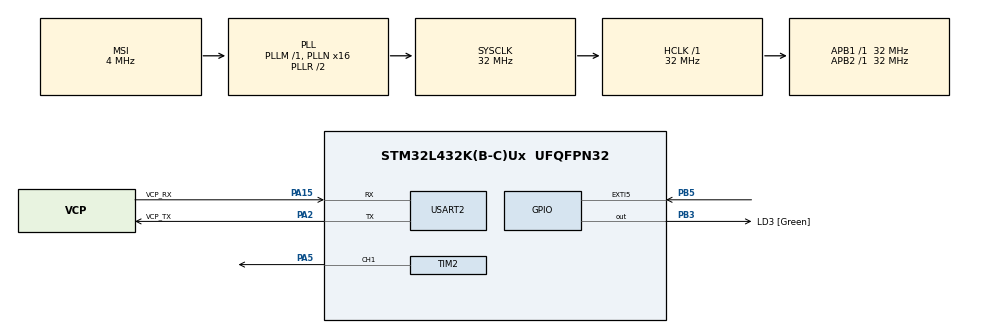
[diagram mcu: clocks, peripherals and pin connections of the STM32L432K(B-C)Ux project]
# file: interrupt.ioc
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Mcu.Family=STM32L4
Mcu.Name=STM32L432K(B-C)Ux
Mcu.Package=UFQFPN32
NVIC.EXTI9_5_IRQn=true\:0\:0\:false\:false\:true\:true\:true
NVIC.PriorityGroup=NVIC_PRIORITYGROUP_4
NVIC.TIM2_IRQn=true\:0\:0\:false\:false\:true\:true\:true
NVIC.TIM6_DAC_IRQn=true\:0\:0\:false\:false\:true\:true\:true
PA0.GPIO_Label=MCO [High speed clock in]
PA0.Mode=HSE-External-Clock-Source-for-LittleOrca
PA0.Signal=RCC_CK_IN
PA13\ (JTMS-SWDIO).GPIO_Label=SWDIO
PA13\ (JTMS-SWDIO).Mode=Serial_Wire
PA13\ (JTMS-SWDIO).Signal=SYS_JTMS-SWDIO
PA14\ (JTCK-SWCLK).GPIO_Label=SWCLK
PA14\ (JTCK-SWCLK).Mode=Serial_Wire
PA14\ (JTCK-SWCLK).Signal=SYS_JTCK-SWCLK
PA15\ (JTDI).GPIO_Label=VCP_RX
PA15\ (JTDI).Mode=Asynchronous
PA15\ (JTDI).Signal=USART2_RX
PA2.GPIO_Label=VCP_TX
PA2.Mode=Asynchronous
PA2.Signal=USART2_TX
PA5.Signal=S_TIM2_CH1
PB3\ (JTDO-TRACESWO).GPIO_Label=LD3 [Green]
PB3\ (JTDO-TRACESWO).Signal=GPIO_Output
PB5.GPIO_ModeDefaultEXTI=GPIO_MODE_IT_FALLING
PB5.Signal=GPXTI5
PC14-OSC32_IN\ (PC14).Mode=LSE-External-Oscillator
PC14-OSC32_IN\ (PC14).Signal=RCC_OSC32_IN
PC15-OSC32_OUT\ (PC15).Mode=LSE-External-Oscillator
PC15-OSC32_OUT\ (PC15).Signal=RCC_OSC32_OUT
ProjectManager.HeapSize=0x200
ProjectManager.StackSize=0x400
ProjectManager.TargetToolchain=STM32CubeIDE
RCC.AHBFreq_Value=32000000
RCC.APB1Freq_Value=32000000
RCC.APB1TimFreq_Value=32000000
RCC.APB2Freq_Value=32000000
RCC.APB2TimFreq_Value=32000000
RCC.CortexFreq_Value=32000000
RCC.HCLKFreq_Value=32000000
RCC.HSE_VALUE=8000000
RCC.HSI16_VALUE=16000000
RCC.HSI48_VALUE=48000000
RCC.HSI_VALUE=16000000
RCC.MSI_VALUE=4000000
RCC.PLLMUL=RCC_PLLMUL_4
RCC.PLLN=16
RCC.SYSCLKFreq_VALUE=32000000
RCC.SYSCLKSource=RCC_SYSCLKSOURCE_PLLCLK
RCC.VCOOutputFreq_Value=64000000
SH.S_TIM2_CH1.0=TIM2_CH1,PWM Generation1 CH1
TIM2.Channel-PWM\ Generation1\ CH1=TIM_CHANNEL_1
TIM2.Period=100-1
TIM2.Prescaler=32
TIM2.Pulse-PWM\ Generation1\ CH1=50
TIM6.Period=10
TIM6.Prescaler=32000
USART2.VirtualMode-Asynchronous=VM_ASYNC
VP_TIM2_VS_ClockSourceINT.Mode=Internal
VP_TIM6_VS_ClockSourceINT.Mode=Enable_Timer
board=NUCLEO-L432KC

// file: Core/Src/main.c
/* USER CODE BEGIN Header */
/**
  ******************************************************************************
  * @file           : main.c
  * @brief          : Main program body
  ******************************************************************************
  * @attention
  *
  * <h2><center>&copy; Copyright (c) 2020 STMicroelectronics.
  * All rights reserved.</center></h2>
  *
  * This software component is licensed by ST under BSD 3-Clause license,
  * the "License"; You may not use this file except in compliance with the
  * License. You may obtain a copy of the License at:
  *                        opensource.org/licenses/BSD-3-Clause
  *
  ******************************************************************************
  */
/* USER CODE END Header */
#include "main.h"

TIM_HandleTypeDef htim2;
TIM_HandleTypeDef htim6;

UART_HandleTypeDef huart2;

void SystemClock_Config(void);
static void MX_GPIO_Init(void);
static void MX_USART2_UART_Init(void);
static void MX_TIM2_Init(void);
static void MX_TIM6_Init(void);

/* USER CODE BEGIN 0 */

uint32_t pulse = 50;
_Bool GPIO_interrupt_lock = 0;

void HAL_TIM_PeriodElapsedCallback(TIM_HandleTypeDef *htim){
	static uint8_t postcounter = 0, lockcounter = 0;
	postcounter++;
	static _Bool toggle = 1;

	if(GPIO_interrupt_lock){
		lockcounter++;
		if(lockcounter >= 3){
			GPIO_interrupt_lock = 0;
			lockcounter = 0;
			HAL_NVIC_EnableIRQ(EXTI9_5_IRQn);
			HAL_GPIO_WritePin(LD3_GPIO_Port, LD3_Pin,GPIO_PIN_RESET);
		}
	}

	if(postcounter >= 100) {
		postcounter = 0;
		toggle ^= 1;
		if(toggle){
			//Pulse register
			TIM2->CCR1 = 0;
		}
		else
		{
			TIM2->CCR1 = pulse;
		}
	}

	HAL_GPIO_TogglePin(LD3_GPIO_Port, LD3_Pin);

}

void HAL_GPIO_EXTI_Callback(uint16_t GPIO_Pin)
{
	if(GPIO_Pin != 32) {return;}
	//I don't know why 32., Debugging showed
	HAL_NVIC_DisableIRQ(EXTI9_5_IRQn);
	//signal that interrupt was triggered
	HAL_GPIO_WritePin(LD3_GPIO_Port, LD3_Pin,GPIO_PIN_SET);
	static _Bool toggle = 1;
	toggle ^= 1;

	if(toggle){
		pulse = 5;
	}
	else
	{
		pulse = 50;
	}
	GPIO_interrupt_lock = 1;
}

/* USER CODE END 0 */

int main(void)
{

  /* MCU Configuration--------------------------------------------------------*/

  /* Reset of all peripherals, Initializes the Flash interface and the Systick. */
  HAL_Init();

  /* Configure the system clock */
  SystemClock_Config();

  /* Initialize all configured peripherals */
  MX_GPIO_Init();
  MX_USART2_UART_Init();
  MX_TIM2_Init();
  MX_TIM6_Init();
  /* USER CODE BEGIN 2 */

  //HAL_TIM_Base_Start(&htim2);
  HAL_TIM_PWM_Start(&htim2, TIM_CHANNEL_1);
  HAL_TIM_Base_Start_IT(&htim6);

  //Init finished

  /* USER CODE END 2 */

  /* Infinite loop */
  while (1)
  {

  }
}

void SystemClock_Config(void)
{
  RCC_OscInitTypeDef RCC_OscInitStruct = {0};
  RCC_ClkInitTypeDef RCC_ClkInitStruct = {0};
  RCC_PeriphCLKInitTypeDef PeriphClkInit = {0};

  /** Configure LSE Drive Capability
  */
  HAL_PWR_EnableBkUpAccess();
  __HAL_RCC_LSEDRIVE_CONFIG(RCC_LSEDRIVE_LOW);
  /** Initializes the RCC Oscillators according to the specified parameters
  * in the RCC_OscInitTypeDef structure.
  */
  RCC_OscInitStruct.OscillatorType = RCC_OSCILLATORTYPE_LSE|RCC_OSCILLATORTYPE_MSI;
  RCC_OscInitStruct.LSEState = RCC_LSE_ON;
  RCC_OscInitStruct.MSIState = RCC_MSI_ON;
  RCC_OscInitStruct.MSICalibrationValue = 0;
  RCC_OscInitStruct.MSIClockRange = RCC_MSIRANGE_6;
  RCC_OscInitStruct.PLL.PLLState = RCC_PLL_ON;
  RCC_OscInitStruct.PLL.PLLSource = RCC_PLLSOURCE_MSI;
  RCC_OscInitStruct.PLL.PLLM = 1;
  RCC_OscInitStruct.PLL.PLLN = 16;
  RCC_OscInitStruct.PLL.PLLP = RCC_PLLP_DIV7;
  RCC_OscInitStruct.PLL.PLLQ = RCC_PLLQ_DIV2;
  RCC_OscInitStruct.PLL.PLLR = RCC_PLLR_DIV2;
  if (HAL_RCC_OscConfig(&RCC_OscInitStruct) != HAL_OK)
  {
    Error_Handler();
  }
  /** Initializes the CPU, AHB and APB buses clocks
  */
  RCC_ClkInitStruct.ClockType = RCC_CLOCKTYPE_HCLK|RCC_CLOCKTYPE_SYSCLK
                              |RCC_CLOCKTYPE_PCLK1|RCC_CLOCKTYPE_PCLK2;
  RCC_ClkInitStruct.SYSCLKSource = RCC_SYSCLKSOURCE_PLLCLK;
  RCC_ClkInitStruct.AHBCLKDivider = RCC_SYSCLK_DIV1;
  RCC_ClkInitStruct.APB1CLKDivider = RCC_HCLK_DIV1;
  RCC_ClkInitStruct.APB2CLKDivider = RCC_HCLK_DIV1;

  if (HAL_RCC_ClockConfig(&RCC_ClkInitStruct, FLASH_LATENCY_1) != HAL_OK)
  {
    Error_Handler();
  }
  PeriphClkInit.PeriphClockSelection = RCC_PERIPHCLK_USART2;
  PeriphClkInit.Usart2ClockSelection = RCC_USART2CLKSOURCE_PCLK1;
  if (HAL_RCCEx_PeriphCLKConfig(&PeriphClkInit) != HAL_OK)
  {
    Error_Handler();
  }
  /** Configure the main internal regulator output voltage
  */
  if (HAL_PWREx_ControlVoltageScaling(PWR_REGULATOR_VOLTAGE_SCALE1) != HAL_OK)
  {
    Error_Handler();
  }
  /** Enable MSI Auto calibration
  */
  HAL_RCCEx_EnableMSIPLLMode();
}

static void MX_TIM2_Init(void)
{

  TIM_ClockConfigTypeDef sClockSourceConfig = {0};
  TIM_MasterConfigTypeDef sMasterConfig = {0};
  TIM_OC_InitTypeDef sConfigOC = {0};

  htim2.Instance = TIM2;
  htim2.Init.Prescaler = 32;
  htim2.Init.CounterMode = TIM_COUNTERMODE_UP;
  htim2.Init.Period = 100-1;
  htim2.Init.ClockDivision = TIM_CLOCKDIVISION_DIV1;
  htim2.Init.AutoReloadPreload = TIM_AUTORELOAD_PRELOAD_DISABLE;
  if (HAL_TIM_Base_Init(&htim2) != HAL_OK)
  {
    Error_Handler();
  }
  sClockSourceConfig.ClockSource = TIM_CLOCKSOURCE_INTERNAL;
  if (HAL_TIM_ConfigClockSource(&htim2, &sClockSourceConfig) != HAL_OK)
  {
    Error_Handler();
  }
  if (HAL_TIM_PWM_Init(&htim2) != HAL_OK)
  {
    Error_Handler();
  }
  sMasterConfig.MasterOutputTrigger = TIM_TRGO_RESET;
  sMasterConfig.MasterSlaveMode = TIM_MASTERSLAVEMODE_DISABLE;
  if (HAL_TIMEx_MasterConfigSynchronization(&htim2, &sMasterConfig) != HAL_OK)
  {
    Error_Handler();
  }
  sConfigOC.OCMode = TIM_OCMODE_PWM1;
  sConfigOC.Pulse = 50;
  sConfigOC.OCPolarity = TIM_OCPOLARITY_HIGH;
  sConfigOC.OCFastMode = TIM_OCFAST_DISABLE;
  if (HAL_TIM_PWM_ConfigChannel(&htim2, &sConfigOC, TIM_CHANNEL_1) != HAL_OK)
  {
    Error_Handler();
  }
  HAL_TIM_MspPostInit(&htim2);

}

static void MX_TIM6_Init(void)
{

  TIM_MasterConfigTypeDef sMasterConfig = {0};

  htim6.Instance = TIM6;
  htim6.Init.Prescaler = 32000;
  htim6.Init.CounterMode = TIM_COUNTERMODE_UP;
  htim6.Init.Period = 10;
  htim6.Init.AutoReloadPreload = TIM_AUTORELOAD_PRELOAD_DISABLE;
  if (HAL_TIM_Base_Init(&htim6) != HAL_OK)
  {
    Error_Handler();
  }
  sMasterConfig.MasterOutputTrigger = TIM_TRGO_RESET;
  sMasterConfig.MasterSlaveMode = TIM_MASTERSLAVEMODE_DISABLE;
  if (HAL_TIMEx_MasterConfigSynchronization(&htim6, &sMasterConfig) != HAL_OK)
  {
    Error_Handler();
  }

}

static void MX_USART2_UART_Init(void)
{

  huart2.Instance = USART2;
  huart2.Init.BaudRate = 115200;
  huart2.Init.WordLength = UART_WORDLENGTH_8B;
  huart2.Init.StopBits = UART_STOPBITS_1;
  huart2.Init.Parity = UART_PARITY_NONE;
  huart2.Init.Mode = UART_MODE_TX_RX;
  huart2.Init.HwFlowCtl = UART_HWCONTROL_NONE;
  huart2.Init.OverSampling = UART_OVERSAMPLING_16;
  huart2.Init.OneBitSampling = UART_ONE_BIT_SAMPLE_DISABLE;
  huart2.AdvancedInit.AdvFeatureInit = UART_ADVFEATURE_NO_INIT;
  if (HAL_UART_Init(&huart2) != HAL_OK)
  {
    Error_Handler();
  }

}

static void MX_GPIO_Init(void)
{
  GPIO_InitTypeDef GPIO_InitStruct = {0};

  /* GPIO Ports Clock Enable */
  __HAL_RCC_GPIOC_CLK_ENABLE();
  __HAL_RCC_GPIOA_CLK_ENABLE();
  __HAL_RCC_GPIOB_CLK_ENABLE();

  /*Configure GPIO pin Output Level */
  HAL_GPIO_WritePin(LD3_GPIO_Port, LD3_Pin, GPIO_PIN_RESET);

  /*Configure GPIO pin : LD3_Pin */
  GPIO_InitStruct.Pin = LD3_Pin;
  GPIO_InitStruct.Mode = GPIO_MODE_OUTPUT_PP;
  GPIO_InitStruct.Pull = GPIO_NOPULL;
  GPIO_InitStruct.Speed = GPIO_SPEED_FREQ_LOW;
  HAL_GPIO_Init(LD3_GPIO_Port, &GPIO_InitStruct);

  /*Configure GPIO pin : PB5 */
  GPIO_InitStruct.Pin = GPIO_PIN_5;
  GPIO_InitStruct.Mode = GPIO_MODE_IT_FALLING;
  GPIO_InitStruct.Pull = GPIO_NOPULL;
  HAL_GPIO_Init(GPIOB, &GPIO_InitStruct);

  /* EXTI interrupt init*/
  HAL_NVIC_SetPriority(EXTI9_5_IRQn, 0, 0);
  HAL_NVIC_EnableIRQ(EXTI9_5_IRQn);

}

void Error_Handler(void)
{
  /* USER CODE BEGIN Error_Handler_Debug */
  /* User can add his own implementation to report the HAL error return state */
	HAL_GPIO_WritePin(LD3_GPIO_Port, LD3_Pin, GPIO_PIN_SET);

  /* USER CODE END Error_Handler_Debug */
}

/************************ (C) COPYRIGHT STMicroelectronics *****END OF FILE****/
